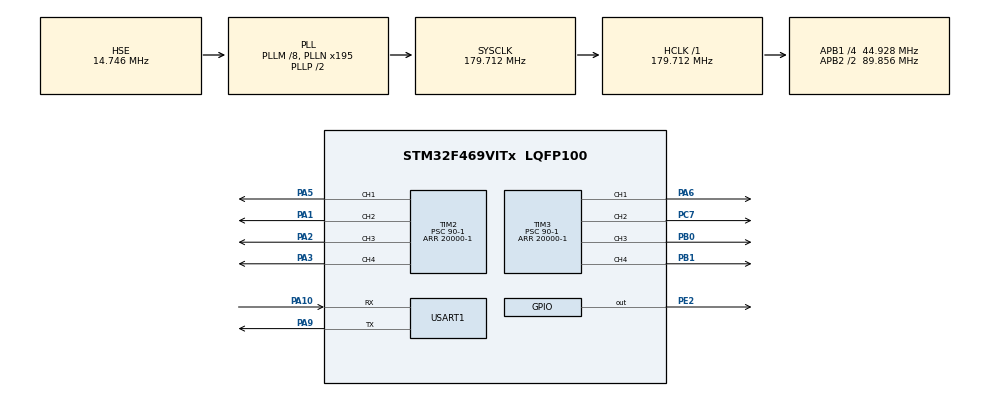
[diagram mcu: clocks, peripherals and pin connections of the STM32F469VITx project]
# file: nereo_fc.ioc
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Dma.Request0=USART1_RX
Dma.Request1=USART1_TX
Dma.USART1_RX.0.Direction=DMA_PERIPH_TO_MEMORY
Dma.USART1_RX.0.FIFOMode=DMA_FIFOMODE_DISABLE
Dma.USART1_RX.0.Instance=DMA2_Stream2
Dma.USART1_RX.0.MemDataAlignment=DMA_MDATAALIGN_BYTE
Dma.USART1_RX.0.MemInc=DMA_MINC_ENABLE
Dma.USART1_RX.0.Mode=DMA_CIRCULAR
Dma.USART1_RX.0.PeriphDataAlignment=DMA_PDATAALIGN_BYTE
Dma.USART1_RX.0.PeriphInc=DMA_PINC_DISABLE
Dma.USART1_RX.0.Priority=DMA_PRIORITY_VERY_HIGH
Dma.USART1_TX.1.Direction=DMA_MEMORY_TO_PERIPH
Dma.USART1_TX.1.FIFOMode=DMA_FIFOMODE_DISABLE
Dma.USART1_TX.1.Instance=DMA2_Stream7
Dma.USART1_TX.1.MemDataAlignment=DMA_MDATAALIGN_BYTE
Dma.USART1_TX.1.MemInc=DMA_MINC_ENABLE
Dma.USART1_TX.1.Mode=DMA_NORMAL
Dma.USART1_TX.1.PeriphDataAlignment=DMA_PDATAALIGN_BYTE
Dma.USART1_TX.1.PeriphInc=DMA_PINC_DISABLE
Dma.USART1_TX.1.Priority=DMA_PRIORITY_VERY_HIGH
FREERTOS.Tasks01=defaultTask,24,5000,StartDefaultTask,Default,NULL,Dynamic,NULL,NULL
FREERTOS.configTOTAL_HEAP_SIZE=30000
IWDG.Prescaler=IWDG_PRESCALER_64
IWDG.Reload=2500-1
Mcu.Family=STM32F4
Mcu.Name=STM32F469VITx
Mcu.Package=LQFP100
NVIC.DMA2_Stream2_IRQn=true\:5\:0\:false\:false\:true\:true\:false\:true\:true
NVIC.DMA2_Stream7_IRQn=true\:5\:0\:false\:false\:true\:true\:false\:true\:true
NVIC.PriorityGroup=NVIC_PRIORITYGROUP_4
NVIC.TIM1_UP_TIM10_IRQn=true\:15\:0\:false\:false\:true\:false\:false\:true\:true
NVIC.TimeBase=TIM1_UP_TIM10_IRQn
NVIC.TimeBaseIP=TIM1
NVIC.USART1_IRQn=true\:5\:0\:false\:false\:true\:true\:true\:true\:true
PA1.Signal=S_TIM2_CH2
PA10.Mode=Asynchronous
PA10.Signal=USART1_RX
PA13.Mode=Trace_Asynchronous_SW
PA13.Signal=SYS_JTMS-SWDIO
PA14.Mode=Trace_Asynchronous_SW
PA14.Signal=SYS_JTCK-SWCLK
PA2.Signal=S_TIM2_CH3
PA3.Signal=S_TIM2_CH4
PA5.Signal=S_TIM2_CH1_ETR
PA6.Signal=S_TIM3_CH1
PA9.Mode=Asynchronous
PA9.Signal=USART1_TX
PB0.Signal=S_TIM3_CH3
PB1.Signal=S_TIM3_CH4
PB3.Mode=Trace_Asynchronous_SW
PB3.Signal=SYS_JTDO-SWO
PC7.Signal=S_TIM3_CH2
PE2.Signal=GPIO_Output
PH0/OSC_IN.Mode=HSE-External-Oscillator
PH0/OSC_IN.Signal=RCC_OSC_IN
PH1/OSC_OUT.Mode=HSE-External-Oscillator
PH1/OSC_OUT.Signal=RCC_OSC_OUT
ProjectManager.HeapSize=0x200
ProjectManager.StackSize=0x400
ProjectManager.TargetToolchain=STM32CubeIDE
RCC.AHBFreq_Value=179712000
RCC.APB1CLKDivider=RCC_HCLK_DIV4
RCC.APB1Freq_Value=44928000
RCC.APB1TimFreq_Value=89856000
RCC.APB2CLKDivider=RCC_HCLK_DIV2
RCC.APB2Freq_Value=89856000
RCC.APB2TimFreq_Value=179712000
RCC.CortexFreq_Value=179712000
RCC.HCLKFreq_Value=179712000
RCC.HSE_VALUE=14745600
RCC.PLLM=8
RCC.PLLN=195
RCC.PLLSourceVirtual=RCC_PLLSOURCE_HSE
RCC.SYSCLKFreq_VALUE=179712000
RCC.SYSCLKSource=RCC_SYSCLKSOURCE_PLLCLK
RCC.USBFreq_Value=89856000
RCC.VCOOutputFreq_Value=359424000
SH.S_TIM2_CH1_ETR.0=TIM2_CH1,PWM Generation1 CH1
SH.S_TIM2_CH2.0=TIM2_CH2,PWM Generation2 CH2
SH.S_TIM2_CH3.0=TIM2_CH3,PWM Generation3 CH3
SH.S_TIM2_CH4.0=TIM2_CH4,PWM Generation4 CH4
SH.S_TIM3_CH1.0=TIM3_CH1,PWM Generation1 CH1
SH.S_TIM3_CH2.0=TIM3_CH2,PWM Generation2 CH2
SH.S_TIM3_CH3.0=TIM3_CH3,PWM Generation3 CH3
SH.S_TIM3_CH4.0=TIM3_CH4,PWM Generation4 CH4
STMicroelectronics.X-CUBE-ALGOBUILD.1.4.0.LibraryCcDSPOoLibraryJjDSPOoLibrary=true
TIM2.Channel-PWM\ Generation1\ CH1=TIM_CHANNEL_1
TIM2.Channel-PWM\ Generation2\ CH2=TIM_CHANNEL_2
TIM2.Channel-PWM\ Generation3\ CH3=TIM_CHANNEL_3
TIM2.Channel-PWM\ Generation4\ CH4=TIM_CHANNEL_4
TIM2.Period=20000-1
TIM2.Prescaler=90-1
TIM2.Pulse-PWM\ Generation1\ CH1=1500-1
TIM2.Pulse-PWM\ Generation2\ CH2=1500-1
TIM2.Pulse-PWM\ Generation3\ CH3=1500-1
TIM2.Pulse-PWM\ Generation4\ CH4=1500-1
TIM3.Channel-PWM\ Generation1\ CH1=TIM_CHANNEL_1
TIM3.Channel-PWM\ Generation2\ CH2=TIM_CHANNEL_2
TIM3.Channel-PWM\ Generation3\ CH3=TIM_CHANNEL_3
TIM3.Channel-PWM\ Generation4\ CH4=TIM_CHANNEL_4
TIM3.Period=20000-1
TIM3.Prescaler=90-1
TIM3.Pulse-PWM\ Generation1\ CH1=1500-1
TIM3.Pulse-PWM\ Generation2\ CH2=1500-1
TIM3.Pulse-PWM\ Generation3\ CH3=1500-1
TIM3.Pulse-PWM\ Generation4\ CH4=1500-1
USART1.VirtualMode=VM_ASYNC
VP_FREERTOS_VS_CMSIS_V2.Mode=CMSIS_V2
VP_IWDG_VS_IWDG.Mode=IWDG_Activate
VP_STMicroelectronics.X-CUBE-ALGOBUILD_VS_DSPOoLibraryJjLibrary_1.4.0_1.4.0.Mode=DSPOoLibraryJjLibrary
VP_SYS_VS_tim1.Mode=TIM1
VP_TIM3_VS_ClockSourceINT.Mode=Internal
board=custom

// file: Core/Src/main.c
/* USER CODE BEGIN Header */
/**
  ******************************************************************************
  * @file           : main.c
  * @brief          : Main program body
  ******************************************************************************
  * @attention
  *
  * Copyright (c) 2024 STMicroelectronics.
  * All rights reserved.
  *
  * This software is licensed under terms that can be found in the LICENSE file
  * in the root directory of this software component.
  * If no LICENSE file comes with this software, it is provided AS-IS.
  *
  ******************************************************************************
  */
/* USER CODE END Header */
#include "main.h"
#include "cmsis_os.h"
#include "dma.h"
#include "iwdg.h"
#include "tim.h"
#include "usart.h"
#include "gpio.h"

/* USER CODE BEGIN Includes */
#include <stdio.h>
#include "safety/thruster_safe_state.h"
/* USER CODE END Includes */

void SystemClock_Config(void);
void MX_FREERTOS_Init(void);
/* USER CODE BEGIN PFP */
int _write(int file, char *ptr, int len);
/* USER CODE END PFP */

int main(void)
{

  /* MCU Configuration--------------------------------------------------------*/

  /* Reset of all peripherals, Initializes the Flash interface and the Systick. */
  HAL_Init();

  /* Configure the system clock */
  SystemClock_Config();

  /* Initialize all configured peripherals */
  MX_GPIO_Init();
  MX_DMA_Init();
  MX_USART1_UART_Init();
  MX_TIM2_Init();
  MX_TIM3_Init();
  MX_IWDG_Init();
  /* USER CODE BEGIN 2 */
  printf("Printf debugging is working! Yay!\n");
  HAL_TIM_Base_Start(&htim2);
  HAL_TIM_PWM_Start(&htim2, TIM_CHANNEL_1);
  HAL_TIM_PWM_Start(&htim2, TIM_CHANNEL_2);
  HAL_TIM_PWM_Start(&htim2, TIM_CHANNEL_3);
  HAL_TIM_PWM_Start(&htim2, TIM_CHANNEL_4);

  HAL_TIM_Base_Start(&htim3);
  HAL_TIM_PWM_Start(&htim3, TIM_CHANNEL_1);
  HAL_TIM_PWM_Start(&htim3, TIM_CHANNEL_2);
  HAL_TIM_PWM_Start(&htim3, TIM_CHANNEL_3);
  HAL_TIM_PWM_Start(&htim3, TIM_CHANNEL_4);

  thruster_force_neutral();

  HAL_IWDG_Init(&hiwdg);
  /* USER CODE END 2 */

  /* Init scheduler */
  osKernelInitialize();

  /* Call init function for freertos objects (in cmsis_os2.c) */
  MX_FREERTOS_Init();

  /* Start scheduler */
  osKernelStart();

  /* We should never get here as control is now taken by the scheduler */

  /* Infinite loop */
  /* USER CODE BEGIN WHILE */
  while (1)
  {
	  printf("Error starting freeRTOS Scheduler.\n");
	  Error_Handler();
    /* USER CODE END WHILE */

  }
}

void SystemClock_Config(void)
{
  RCC_OscInitTypeDef RCC_OscInitStruct = {0};
  RCC_ClkInitTypeDef RCC_ClkInitStruct = {0};

  /** Configure the main internal regulator output voltage
  */
  __HAL_RCC_PWR_CLK_ENABLE();
  __HAL_PWR_VOLTAGESCALING_CONFIG(PWR_REGULATOR_VOLTAGE_SCALE1);

  /** Initializes the RCC Oscillators according to the specified parameters
  * in the RCC_OscInitTypeDef structure.
  */
  RCC_OscInitStruct.OscillatorType = RCC_OSCILLATORTYPE_LSI|RCC_OSCILLATORTYPE_HSE;
  RCC_OscInitStruct.HSEState = RCC_HSE_ON;
  RCC_OscInitStruct.LSIState = RCC_LSI_ON;
  RCC_OscInitStruct.PLL.PLLState = RCC_PLL_ON;
  RCC_OscInitStruct.PLL.PLLSource = RCC_PLLSOURCE_HSE;
  RCC_OscInitStruct.PLL.PLLM = 8;
  RCC_OscInitStruct.PLL.PLLN = 195;
  RCC_OscInitStruct.PLL.PLLP = RCC_PLLP_DIV2;
  RCC_OscInitStruct.PLL.PLLQ = 4;
  RCC_OscInitStruct.PLL.PLLR = 2;
  if (HAL_RCC_OscConfig(&RCC_OscInitStruct) != HAL_OK)
  {
    Error_Handler();
  }

  /** Activate the Over-Drive mode
  */
  if (HAL_PWREx_EnableOverDrive() != HAL_OK)
  {
    Error_Handler();
  }

  /** Initializes the CPU, AHB and APB buses clocks
  */
  RCC_ClkInitStruct.ClockType = RCC_CLOCKTYPE_HCLK|RCC_CLOCKTYPE_SYSCLK
                              |RCC_CLOCKTYPE_PCLK1|RCC_CLOCKTYPE_PCLK2;
  RCC_ClkInitStruct.SYSCLKSource = RCC_SYSCLKSOURCE_PLLCLK;
  RCC_ClkInitStruct.AHBCLKDivider = RCC_SYSCLK_DIV1;
  RCC_ClkInitStruct.APB1CLKDivider = RCC_HCLK_DIV4;
  RCC_ClkInitStruct.APB2CLKDivider = RCC_HCLK_DIV2;

  if (HAL_RCC_ClockConfig(&RCC_ClkInitStruct, FLASH_LATENCY_5) != HAL_OK)
  {
    Error_Handler();
  }
}

/* USER CODE BEGIN 4 */
int _write(int file, char *ptr, int len)
{
  (void)file;
  int DataIdx;

  for (DataIdx = 0; DataIdx < len; DataIdx++)
  {
    ITM_SendChar(*ptr++);
  }
  return len;
}
/* USER CODE END 4 */

void HAL_TIM_PeriodElapsedCallback(TIM_HandleTypeDef *htim)
{
  if (htim->Instance == TIM1)
  {
    HAL_IncTick();
  }
}

void Error_Handler(void)
{
  /* USER CODE BEGIN Error_Handler_Debug */
  /* User can add his own implementation to report the HAL error return state */
  /*
   * FAULT CONTRACT: fail-safe, not recover -- full rationale in
   * thruster_safe_state.h. Force neutral first; the watchdog is never
   * serviced from this handler.
   */
  thruster_force_neutral();
  __disable_irq();
  while (1)
  {
  }
  /* USER CODE END Error_Handler_Debug */
}

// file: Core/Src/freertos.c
/* USER CODE BEGIN Header */
/**
  ******************************************************************************
  * File Name          : freertos.c
  * Description        : Code for freertos applications
  ******************************************************************************
  * @attention
  *
  * Copyright (c) 2024 STMicroelectronics.
  * All rights reserved.
  *
  * This software is licensed under terms that can be found in the LICENSE file
  * in the root directory of this software component.
  * If no LICENSE file comes with this software, it is provided AS-IS.
  *
  ******************************************************************************
  */
/* USER CODE END Header */

#include "FreeRTOS.h"
#include "task.h"
#include "main.h"
#include "cmsis_os.h"

/* USER CODE BEGIN Includes */
#include "usart.h"

#include <rcl/rcl.h>
#include <rcl/error_handling.h>
#include <rclc/rclc.h>
#include <rclc/executor.h>
#include <uxr/client/transport.h>
#include <rmw_microxrcedds_c/config.h>
#include <rmw_microros/rmw_microros.h>
#include <rclc_parameter/rclc_parameter.h>

#include "micro_ros_utilities/type_utilities.h"

#include <sensor_msgs/msg/Imu.h>
#include <sensor_msgs/msg/Joy.h>
#include <sensor_msgs/msg/Fluid_Pressure.h>
#include <sensor_msgs/msg/Temperature.h>

#include <std_srvs/srv/set_bool.h>

#include <nereo_interfaces/msg/thruster_statuses.h>
#include <nereo_interfaces/msg/command_velocity.h>
#include <nereo_interfaces/srv/set_navigation_mode.h>

#include "navigation/stabilize_mode.h"
#include "navigation/navigation.h"
/* USER CODE END Includes */

/* USER CODE BEGIN PTD */
typedef enum {
	ROS2_OK,
	ROS2_WARNING,
	ROS2_ERROR,
	ROS2_STALE
} RosErrors;

typedef enum {
	NAVIGATION_MODE_MANUAL,
    NAVIGATION_MODE_STABILIZE_FULL,
	NAVIGATION_MODE_STABILIZE_DEPTH,
	NAVIGATION_MODE_STABILIZE_R_P,
	NAVIGATION_MODE_STABILIZE_ANGLES
} NavigationModes;

typedef enum {
	ROV_DISARMED,
	ROV_ARMED,
} RovArmModes;
/* USER CODE END PTD */

/* USER CODE BEGIN PD */
// combined number of timers, services and subscriptions: needed for initializing the executor: make sure to udpate this if adding any timer or subscription
#define NUMBER_SUBS_TIMS_SRVS 6
#define DEFAULT_TASK_FREQUENCY_HZ 100
#define TS_DEFAULT_TASK_MS (1000/DEFAULT_TASK_FREQUENCY_HZ)
/* USER CODE END PD */

/* USER CODE BEGIN Variables */
volatile RovArmModes rov_arm_mode = ROV_DISARMED;
volatile NavigationModes navigation_mode = NAVIGATION_MODE_MANUAL;
char empty_string[] = "";
/* USER CODE END Variables */
/* Definitions for defaultTask */
osThreadId_t defaultTaskHandle;
const osThreadAttr_t defaultTask_attributes = {
  .name = "defaultTask",
  .stack_size = 5000 * 4,
  .priority = (osPriority_t) osPriorityNormal,
};

/* USER CODE BEGIN FunctionPrototypes */
bool cubemx_transport_open(struct uxrCustomTransport * transport);
bool cubemx_transport_close(struct uxrCustomTransport * transport);
size_t cubemx_transport_write(struct uxrCustomTransport* transport, const uint8_t * buf, size_t len, uint8_t * err);
size_t cubemx_transport_read(struct uxrCustomTransport* transport, uint8_t* buf, size_t len, int timeout, uint8_t* err);

void * microros_allocate(size_t size, void * state);
void microros_deallocate(void * pointer, void * state);
void * microros_reallocate(void * pointer, size_t size, void * state);
void * microros_zero_allocate(size_t number_of_elements, size_t size_of_element, void * state);

void imu_subscription_callback (const void * msgin);
void cmd_vel_subscription_callback (const void * msgin);
void pressure_subscription_callback (const void * msgin);
void temperature_subscription_callback (const void * msgin);

void set_pwm_idle();
void set_pwms(uint32_t pwms[8]);
void constrain_pwm_output(uint32_t *, int);

void arm_disarm_service_callback(const void *, void *);
void set_nav_mode_service_callback(const void *, void *);
/* USER CODE END FunctionPrototypes */

void StartDefaultTask(void *argument);

void MX_FREERTOS_Init(void); /* (MISRA C 2004 rule 8.1) */

void MX_FREERTOS_Init(void) {

  /* Create the thread(s) */
  /* creation of defaultTask */
  defaultTaskHandle = osThreadNew(StartDefaultTask, NULL, &defaultTask_attributes);

}

void StartDefaultTask(void *argument)
{
  /* USER CODE BEGIN StartDefaultTask */
  /* Infinite loop */
	// micro-ROS configuration
	  rcl_ret_t rc;
	  rmw_uros_set_custom_transport(
	    true,
	    (void *) &huart1,
	    cubemx_transport_open,
	    cubemx_transport_close,
	    cubemx_transport_write,
	    cubemx_transport_read);

	  rcl_allocator_t freeRTOS_allocator = rcutils_get_zero_initialized_allocator();
	  freeRTOS_allocator.allocate = microros_allocate;
	  freeRTOS_allocator.deallocate = microros_deallocate;
	  freeRTOS_allocator.reallocate = microros_reallocate;
	  freeRTOS_allocator.zero_allocate =  microros_zero_allocate;

	  if (!rcutils_set_default_allocator(&freeRTOS_allocator)) {
	      printf("Error on default allocators (line %d)\n", __LINE__);
	  }

	  // micro-ROS app

	  rclc_support_t support;
	  rcl_allocator_t allocator;
	  rcl_node_t node;
	  rclc_executor_t executor;

	  // PUBLISHERS
	  rcl_publisher_t thruster_status_publisher;

	  // messages
	  nereo_interfaces__msg__ThrusterStatuses thruster_status_msg;

	  // SUBSCRIBERS
	  rcl_subscription_t cmd_vel_subscriber;
	  rcl_subscription_t imu_subscriber;
	  rcl_subscription_t pressure_subscriber;
	  rcl_subscription_t temperature_subscriber;
	  // messages
	  nereo_interfaces__msg__CommandVelocity cmd_vel_msg;
	  sensor_msgs__msg__Imu imu_data_msg;
	  sensor_msgs__msg__FluidPressure fluid_pressure;
	  sensor_msgs__msg__Temperature water_temperature;

	  // PARAM SERVER

	  allocator = rcl_get_default_allocator();

	  //create init_options
	  rc = rclc_support_init(&support, 0, NULL, &allocator);
	  if (rc != RCL_RET_OK) printf("Error (line %d)\n", __LINE__);

	  // create node
	  rc = rclc_node_init_default(&node, "cubemx_node", "", &support);
	  if (rc != RCL_RET_OK) printf("Error (line %d)\n", __LINE__);

	  executor = rclc_executor_get_zero_initialized_executor();
	  rc = rclc_executor_init(&executor, &support.context, NUMBER_SUBS_TIMS_SRVS + RCLC_EXECUTOR_PARAMETER_SERVER_HANDLES, &allocator);
	  if (rc != RCL_RET_OK) printf("Error (line %d)\n", __LINE__);

	  // PUBLISHERS
	  rclc_publisher_init_default(
	    &thruster_status_publisher,
	    &node,
	    ROSIDL_GET_MSG_TYPE_SUPPORT(nereo_interfaces, msg, ThrusterStatuses),
	    "/thruster_status");

	  // SUBSCRIBERS
	  static micro_ros_utilities_memory_conf_t default_conf = {0};

	  // IMU sub
	  rc = rclc_subscription_init_default(
			  &imu_subscriber,
			  &node,
			  ROSIDL_GET_MSG_TYPE_SUPPORT(sensor_msgs, msg, Imu),
			  "/imu_data");
	  if (rc != RCL_RET_OK) printf("Error (line %d)\n", __LINE__);
	  // initialize message memory
	  rc = !micro_ros_utilities_create_message_memory(ROSIDL_GET_MSG_TYPE_SUPPORT(sensor_msgs, msg, Imu), &imu_data_msg, default_conf);

	  rc = rclc_executor_add_subscription(
			  &executor, &imu_subscriber,
			  &imu_data_msg, &imu_subscription_callback, ON_NEW_DATA);
	  if (rc != RCL_RET_OK) printf("Error (line %d)\n", __LINE__);

	  // CMD Vel sub
	  rc = rclc_subscription_init_default(
			  &cmd_vel_subscriber,
			  &node,
			  ROSIDL_GET_MSG_TYPE_SUPPORT(nereo_interfaces, msg, CommandVelocity),
			  "/nereo_cmd_vel");
	  if (rc != RCL_RET_OK) printf("Error (line %d)\n", __LINE__);
	  // initialize message memory
	  rc = !micro_ros_utilities_create_message_memory(ROSIDL_GET_MSG_TYPE_SUPPORT(nereo_interfaces, msg, CommandVelocity), &cmd_vel_msg, default_conf);

	  rc = rclc_executor_add_subscription(
			  &executor, &cmd_vel_subscriber,
			  &cmd_vel_msg, &cmd_vel_subscription_callback, ON_NEW_DATA);
	  if (rc != RCL_RET_OK) printf("Error (line %d)\n", __LINE__);

	  // SERVICES
	  rcl_service_t arm_disarm_srv_server;
	  std_srvs__srv__SetBool_Request set_arm_mode_reqin;
	  std_srvs__srv__SetBool_Response set_arm_mode_resout;
	  rc = rclc_service_init_default(
			  &arm_disarm_srv_server, &node,
			  ROSIDL_GET_SRV_TYPE_SUPPORT(std_srvs, srv, SetBool), "/set_rov_arm_mode");
	  if (rc != RCL_RET_OK) printf("Error (line %d)\n", __LINE__);
	  rc = rclc_executor_add_service(
			  &executor, &arm_disarm_srv_server, &set_arm_mode_reqin,
			  &set_arm_mode_resout, &arm_disarm_service_callback);
	  if (rc != RCL_RET_OK) printf("Error (line %d)\n", __LINE__);

	  rcl_service_t nav_mode_srv_server;
	  nereo_interfaces__srv__SetNavigationMode_Request set_navigation_mode_reqin;
	  nereo_interfaces__srv__SetNavigationMode_Response set_navigation_mode_resout;
	  rc = rclc_service_init_default(
			  &nav_mode_srv_server, &node,
			  ROSIDL_GET_SRV_TYPE_SUPPORT(nereo_interfaces, srv, SetNavigationMode), "/set_rov_navigation_mode");
	  rc = rclc_executor_add_service(
			  &executor, &nav_mode_srv_server, &set_navigation_mode_reqin,
			  &set_navigation_mode_resout, &set_nav_mode_service_callback);
	  if (rc != RCL_RET_OK) printf("Error (line %d)\n", __LINE__);

	  uint32_t pwm_output[8] = {1500};
	  arm_status pwm_computation_error = ARM_MATH_SUCCESS;

	  while(1)
	  {
		uint32_t time_ms = HAL_GetTick();
		//printf("Free heap: %d.\n", xPortGetFreeHeapSize());
		// Spin executor once to receive requests and update messages
		rclc_executor_spin_some(&executor, 1000000);

	    if (rov_arm_mode == ROV_ARMED)
	    {
	    	switch (navigation_mode) {
	    		case NAVIGATION_MODE_MANUAL:
	    			pwm_computation_error = calculate_pwm(cmd_vel_msg.cmd_vel, pwm_output);
	    			break;
	    		case NAVIGATION_MODE_STABILIZE_FULL:
	    			pwm_computation_error = calculate_pwm_with_pid(cmd_vel_msg.cmd_vel, pwm_output,
	    					(Quaternion *)&imu_data_msg.orientation,
							(float *)&fluid_pressure.fluid_pressure);
	    			break;
	    		default:
	    			for(uint8_t i = 0; i < 8; i++) pwm_output[i] = 1500;
	    			break;
	    	}
	    	constrain_pwm_output(pwm_output, 8);
	    	set_pwms(pwm_output);
	    } else set_pwm_idle();

	    for(uint8_t i = 0; i < 8; i++) thruster_status_msg.thruster_pwms[i] = pwm_output[i];
	    rc = rcl_publish(&thruster_status_publisher, &thruster_status_msg, NULL);
	    if(rc!=RCL_RET_OK) printf("Error publishing (line %d)\n", __LINE__);

	    uint32_t elapsed_time = HAL_GetTick() - time_ms;
	    if (elapsed_time < TS_DEFAULT_TASK_MS) osDelay(TS_DEFAULT_TASK_MS - elapsed_time);
	  }
  /* USER CODE END StartDefaultTask */
}

/* USER CODE BEGIN Application */
void inline set_pwms(uint32_t pwms[8])
{
	TIM2 -> CCR1 = pwms[0];
	TIM2 -> CCR2 = pwms[1];
	TIM2 -> CCR3 = pwms[2];
	TIM2 -> CCR4 = pwms[3];

	// vertical thrusters
	TIM3 -> CCR1 = pwms[4];
	TIM3 -> CCR2 = pwms[5];
	TIM3 -> CCR3 = pwms[6];
	TIM3 -> CCR4 = pwms[7];
}
void inline set_pwm_idle()
{
	TIM2 -> CCR1 = PWM_IDLE;
	TIM2 -> CCR2 = PWM_IDLE;
	TIM2 -> CCR3 = PWM_IDLE;
	TIM2 -> CCR4 = PWM_IDLE;

	// vertical thrusters
	TIM3 -> CCR1 = PWM_IDLE;
	TIM3 -> CCR2 = PWM_IDLE;
	TIM3 -> CCR3 = PWM_IDLE;
	TIM3 -> CCR4 = PWM_IDLE;
}
void constrain_pwm_output(uint32_t pwms[], int N) {
	for(uint16_t i = 0; i < N; i++) {
		if (pwms[i] < PWM_MIN)
			pwms[i] = PWM_MIN;
		else if (pwms[i] > PWM_MAX)
			pwms[i] = PWM_MAX;
	}
}
void imu_subscription_callback(const void * msgin) {
	const sensor_msgs__msg__Imu * msg = (const sensor_msgs__msg__Imu *)msgin;
}
void cmd_vel_subscription_callback (const void * msgin) {

}
void arm_disarm_service_callback(const void * request_msg, void * response_msg) {
	std_srvs__srv__SetBool_Request * req_in = (std_srvs__srv__SetBool_Request *) request_msg;
	std_srvs__srv__SetBool_Response * res_in = (std_srvs__srv__SetBool_Response *) response_msg;

	// Handle request message and set the response message values
	rov_arm_mode = req_in->data ? ROV_ARMED : ROV_DISARMED;
	res_in->success = true;
	res_in->message.capacity = 2;
	res_in->message.size = strlen(empty_string);
	res_in->message.data = empty_string;
}
void set_nav_mode_service_callback(const void * request_msg, void * response_msg) {
	nereo_interfaces__srv__SetNavigationMode_Request * req_in = (nereo_interfaces__srv__SetNavigationMode_Request *) request_msg;
	nereo_interfaces__srv__SetNavigationMode_Response * res_in = (nereo_interfaces__srv__SetNavigationMode_Response *) response_msg;

	navigation_mode = req_in->navigation_mode;

	res_in->mode_after_set = navigation_mode;
	res_in->success = true;
}
/* USER CODE END Application */
